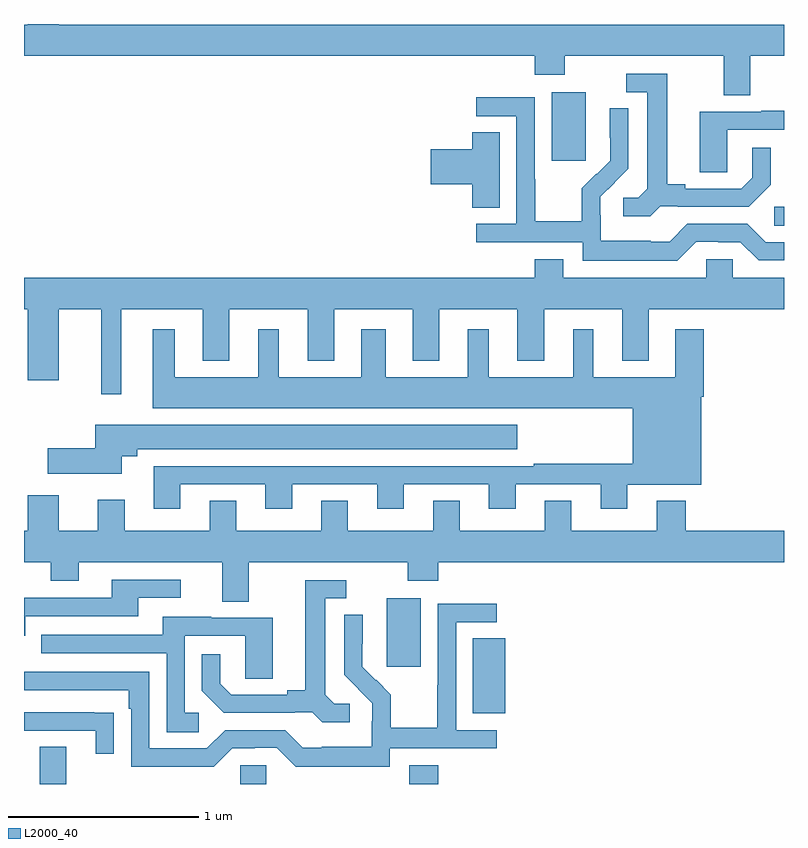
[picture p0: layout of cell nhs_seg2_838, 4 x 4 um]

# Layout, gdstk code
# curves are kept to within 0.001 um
import gdstk
lib = gdstk.Library(unit=1e-6, precision=1e-09)
def R(c, l, rs):  # rectangles x0, y0, x1, y1
    for r in rs: c.add(gdstk.rectangle(r[:2], r[2:], *l))
def P(c, l, *ps):  # polygons
    for p in ps: c.add(gdstk.Polygon(p, *l))
L2000_40 = (2000, 40)

nhs_seg2_838 = lib.new_cell('nhs_seg2_838')
R(nhs_seg2_838, L2000_40, [(153.083,647.8,153.223,647.995), (154.137,647.8,154.275,647.898), (155.027,647.8,155.18,647.899), (155.363,648.173,155.534,648.566), (154.91,648.417,155.089,648.778), (156.948,650.737,157,650.838), (155.777,651.081,155.956,651.442)])
P(nhs_seg2_838, L2000_40, [(156.823,651.632),(157,651.632),(157,651.796),(153.184,651.796),(153.184,651.8),(153.02,651.8),(153.02,651.796),(153,651.796),(153,651.632),(155.687,651.632),(155.687,651.533),(155.847,651.533),(155.847,651.632),(156.683,651.632),(156.683,651.424),(156.823,651.424)],
  [(156.348,650.841),(156.442,650.841),(156.442,650.838),(156.814,650.838),(156.93,650.954),(156.93,651.148),(156.833,651.148),(156.833,650.991),(156.776,650.934),(156.481,650.934),(156.481,650.957),(156.385,650.957),(156.385,651.537),(156.171,651.537),(156.171,651.441),(156.281,651.441),(156.281,650.933),(156.234,650.886),(156.153,650.886),(156.153,650.789),(156.296,650.789)],
  [(156.537,650.655),(156.653,650.655),(156.653,650.652),(156.771,650.652),(156.867,650.556),(157,650.556),(157,650.652),(156.903,650.652),(156.807,650.748),(156.492,650.748),(156.399,650.655),(156.299,650.655),(156.299,650.659),(156.036,650.659),(156.036,650.793),(156.034,650.793),(156.034,650.89),(156.18,651.038),(156.18,651.356),(156.084,651.356),(156.084,651.202),(156.086,651.202),(156.086,651.08),(156.015,651.009),(156.012,651.012),(155.935,650.935),(155.935,650.761),(155.691,650.761),(155.691,650.984),(155.688,650.984),(155.688,651.414),(155.379,651.414),(155.379,651.315),(155.592,651.315),(155.592,650.748),(155.379,650.748),(155.379,650.652),(155.94,650.652),(155.94,650.555),(156.437,650.555)],
  [(156.702,651.243),(157,651.243),(157,651.343),(156.881,651.343),(156.881,651.339),(156.557,651.339),(156.557,651.019),(156.702,651.019)],
  [(155.503,651.23),(155.36,651.23),(155.36,651.14),(155.142,651.14),(155.142,650.957),(155.36,650.957),(155.36,650.833),(155.503,650.833)],
  [(153.511,650.3),(153.941,650.3),(153.941,650.027),(154.081,650.027),(154.081,650.3),(154.493,650.3),(154.493,650.027),(154.633,650.027),(154.633,650.3),(155.045,650.3),(155.045,650.027),(155.185,650.027),(155.185,650.3),(155.597,650.3),(155.597,650.027),(155.737,650.027),(155.737,650.3),(156.149,650.3),(156.149,650.027),(156.289,650.027),(156.289,650.3),(157,650.3),(157,650.464),(156.729,650.464),(156.729,650.562),(156.591,650.562),(156.591,650.464),(155.839,650.464),(155.839,650.563),(155.687,650.563),(155.687,650.464),(153,650.464),(153,650.3),(153.02,650.3),(153.02,649.926),(153.184,649.926),(153.184,650.3),(153.407,650.3),(153.407,649.851),(153.511,649.851)],
  [(153.823,649.377),(154.271,649.377),(154.271,649.248),(154.411,649.248),(154.411,649.377),(154.859,649.377),(154.859,649.248),(154.999,649.248),(154.999,649.377),(155.447,649.377),(155.447,649.248),(155.587,649.248),(155.587,649.377),(156.035,649.377),(156.035,649.248),(156.175,649.248),(156.175,649.376),(156.565,649.376),(156.565,649.838),(156.578,649.838),(156.578,650.194),(156.428,650.194),(156.428,649.942),(155.995,649.942),(155.995,650.194),(155.891,650.194),(155.891,649.942),(155.446,649.942),(155.446,650.194),(155.336,650.194),(155.336,649.942),(154.903,649.942),(154.903,650.194),(154.775,650.194),(154.775,649.942),(154.342,649.942),(154.342,650.194),(154.232,650.194),(154.232,649.942),(153.793,649.942),(153.793,650.194),(153.677,650.194),(153.677,649.778),(156.203,649.778),(156.203,649.486),(155.683,649.486),(155.683,649.473),(153.683,649.473),(153.683,649.248),(153.823,649.248)],
  [(153.514,649.526),(153.595,649.526),(153.595,649.562),(155.596,649.562),(155.596,649.69),(153.374,649.69),(153.374,649.568),(153.126,649.568),(153.126,649.433),(153.514,649.433)],
  [(154.183,648.968),(155.02,648.968),(155.02,648.869),(155.18,648.869),(155.18,648.968),(157,648.968),(157,649.132),(156.482,649.132),(156.482,649.291),(156.329,649.291),(156.329,649.132),(155.881,649.132),(155.881,649.292),(155.741,649.292),(155.741,649.132),(155.293,649.132),(155.293,649.292),(155.153,649.292),(155.153,649.132),(154.705,649.132),(154.705,649.292),(154.565,649.292),(154.565,649.132),(154.117,649.132),(154.117,649.292),(153.977,649.292),(153.977,649.132),(153.529,649.132),(153.529,649.297),(153.389,649.297),(153.389,649.132),(153.184,649.132),(153.184,649.321),(153.02,649.321),(153.02,649.132),(153,649.132),(153,648.968),(153.142,648.968),(153.142,648.869),(153.289,648.869),(153.289,648.968),(154.043,648.968),(154.043,648.76),(154.183,648.76)],
  [(153.006,648.684),(153.601,648.684),(153.601,648.78),(153.826,648.78),(153.826,648.876),(153.461,648.876),(153.461,648.78),(153,648.78),(153,648.581),(153.006,648.581)],
  [(154.714,648.222),(154.632,648.222),(154.585,648.269),(154.585,648.777),(154.696,648.777),(154.696,648.873),(154.481,648.873),(154.481,648.293),(154.385,648.293),(154.385,648.27),(154.09,648.27),(154.033,648.327),(154.033,648.484),(153.936,648.484),(153.936,648.29),(154.052,648.174),(154.424,648.174),(154.424,648.177),(154.518,648.177),(154.57,648.125),(154.714,648.125)],
  [(154.926,647.988),(155.488,647.988),(155.488,648.084),(155.274,648.084),(155.274,648.651),(155.488,648.651),(155.488,648.75),(155.178,648.75),(155.178,648.32),(155.176,648.32),(155.176,648.097),(154.931,648.097),(154.931,648.271),(154.854,648.348),(154.851,648.345),(154.781,648.416),(154.782,648.692),(154.686,648.692),(154.686,648.374),(154.832,648.226),(154.832,648.129),(154.83,648.129),(154.83,647.995),(154.567,647.995),(154.567,647.991),(154.467,647.991),(154.374,648.084),(154.059,648.084),(153.963,647.988),(153.66,647.988),(153.66,648.39),(153,648.39),(153,648.294),(153.551,648.294),(153.551,648.197),(153.564,648.197),(153.564,647.892),(153.999,647.892),(154.095,647.988),(154.214,647.988),(154.214,647.991),(154.329,647.991),(154.429,647.891),(154.926,647.891)],
  [(153.919,648.174),(153.846,648.174),(153.846,648.579),(154.164,648.579),(154.164,648.355),(154.309,648.355),(154.309,648.675),(153.985,648.675),(153.985,648.679),(153.731,648.679),(153.731,648.585),(153.091,648.585),(153.091,648.489),(153.75,648.489),(153.75,648.073),(153.919,648.073)],
  [(153.473,648.176),(153.371,648.176),(153.371,648.177),(153,648.177),(153,648.081),(153.377,648.081),(153.377,647.958),(153.473,647.958)])

lib.write_gds('nhs_seg2_838.gds')
